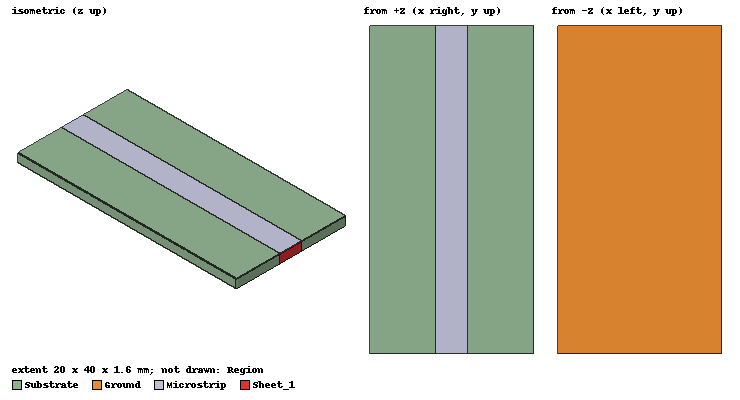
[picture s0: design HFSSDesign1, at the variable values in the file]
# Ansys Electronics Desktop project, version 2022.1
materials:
  vacuum: permittivity=1
  air: permittivity=1.0006 permeability=1.0000004
  Rogers RT/duroid 5880 (tm): permittivity=2.2 dielectric_loss_tangent=0.0009

design HFSSDesign1 (HFSS, DrivenModal, model units mm)
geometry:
  Substrate [Rogers RT/duroid 5880 (tm)] = box(corner=(-10mm, -20mm, 0mm), size=(20mm, 40mm, 1.6mm))
  Ground = rectangle(corner=(-10mm, -20mm, 0mm), x_size=20mm, y_size=40mm)
  Microstrip = rectangle(corner=(-2mm, -20mm, 1.6mm), x_size=4mm, y_size=40mm)
  Sheet_1 = rectangle(corner=(2mm, 20mm, 1.6mm), z_size=-1.6mm, x_size=-4mm)
  Sheet_2 = rectangle(corner=(-2mm, -20mm, 1.6mm), z_size=-1.6mm, x_size=4mm)
  Region [vacuum] = region(absolute_offset=10mm on all sides)
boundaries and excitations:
  PerfE1: Perfect E Objects=Ground
  Rad1: Radiation Objects=Region
  1: Lumped Port Objects=Sheet_1 Modes{Mode1{IntLine{(0, 20, 0) -> (0, 20, 1.6)} CharImp=Zpi RenormImp=50ohm}} Impedance=50ohm
  2: Lumped Port Objects=Sheet_2 Modes{Mode1{IntLine{(0, -20, 0) -> (0, -20, 1.6)} CharImp=Zpi RenormImp=50ohm}} Impedance=50ohm
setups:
  Setup1: HfssDriven Frequency=3.5GHz MaxDeltaS=0.02 MaximumPasses=6 MinimumPasses=1 MinimumConvergedPasses=1 PercentRefinement=30 BasisOrder=1 PortAccuracy=2 DrivenSolverType="Direct Solver"
    sweep Sweep: 1.75GHz to 5.25GHz, 401 points; Type=Fast SaveFields
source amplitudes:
  1:1: 1W 0deg
  2:1: 0W 0deg
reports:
  S Parameter Plot 1: mag(S(1,1)), mag(S(2,1)) vs Freq on Setup1 : Sweep
  Port Zo Plot 1: re(Zo(1)), im(Zo(1)) vs Freq on Setup1 : Sweep
  S Parameter Plot 2: mag(S(1,1)) vs Freq on Setup1 : Sweep
  S Parameter Plot 3: dB(S(1,1)) vs Freq on Setup1 : Sweep
